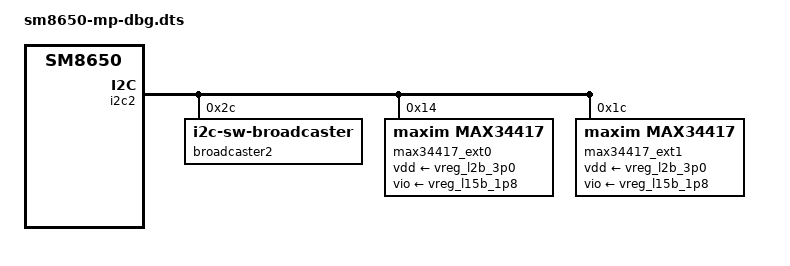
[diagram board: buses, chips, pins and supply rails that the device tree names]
/dts-v1/;

// Includes sm8650-mp.dts instead of copying it, so the two cannot drift.
#include "sm8650-mp.dts"

//fw_setenv DTB_QCOM sm8650-mp-dbg.dtb

// Custom Connector I2C ( Paddle Card ): external power monitors
&i2c2 {
	broadcaster2: broadcaster@2c {
		compatible = "i2c-sw-broadcaster";
		reg = <0x2c>;
	};

	max34417_ext0: max34417@14 {
		compatible = "maxim,max34417";
		reg = <0x14>;
		maxim,sense-resistor = <1>;
		vdd-supply = <&vreg_l2b_3p0>;
		vio-supply = <&vreg_l15b_1p8>;
		status = "okay";
		#address-cells = <1>;
		#size-cells = <0>;
		broadcaster-parent = <&broadcaster2>;

		// CH 1 : VDD_CX (S8I 0p73)
		// CH 2 : APC2
		// CH 3 : DDR VDD_2H
		// CH 4 : VDD_MX_A (S3I_0p75)
		input@0 {
			reg = <0>;
			label = "ext_vdd_cx";
			shunt-resistor = <10>;
		};

		input@1 {
			reg = <1>;
			label = "ext_apc2";
			shunt-resistor = <5>;
		};

		input@2 {
			reg = <2>;
			label = "ext_ddr_vdd_2h";
			shunt-resistor = <10>;
		};

		input@3 {
			reg = <3>;
			label = "ext_vdd_mx_a";
			shunt-resistor = <5>;
		};
	};

	max34417_ext1: max34417@1c {
		compatible = "maxim,max34417";
		reg = <0x1c>;
		maxim,sense-resistor = <1>;
		vdd-supply = <&vreg_l2b_3p0>;
		vio-supply = <&vreg_l15b_1p8>;
		status = "okay";
		#address-cells = <1>;
		#size-cells = <0>;
		broadcaster-parent = <&broadcaster2>;

		// CH 1 : MXC(S3D_0p75)
		// CH 2 : VDD_MODEM (S5G_S6G_0p73)
		// CH 3 : APC1
		// CH 4 : APC0
		input@0 {
			reg = <0>;
			label = "ext_mxc";
			shunt-resistor = <5>;
		};

		input@1 {
			reg = <1>;
			label = "ext_vdd_modem";
			shunt-resistor = <5>;
		};

		input@2 {
			reg = <2>;
			label = "ext_apc1";
			shunt-resistor = <5>;
		};

		input@3 {
			reg = <3>;
			label = "ext_apc0";
			shunt-resistor = <10>;
		};
	};
};
